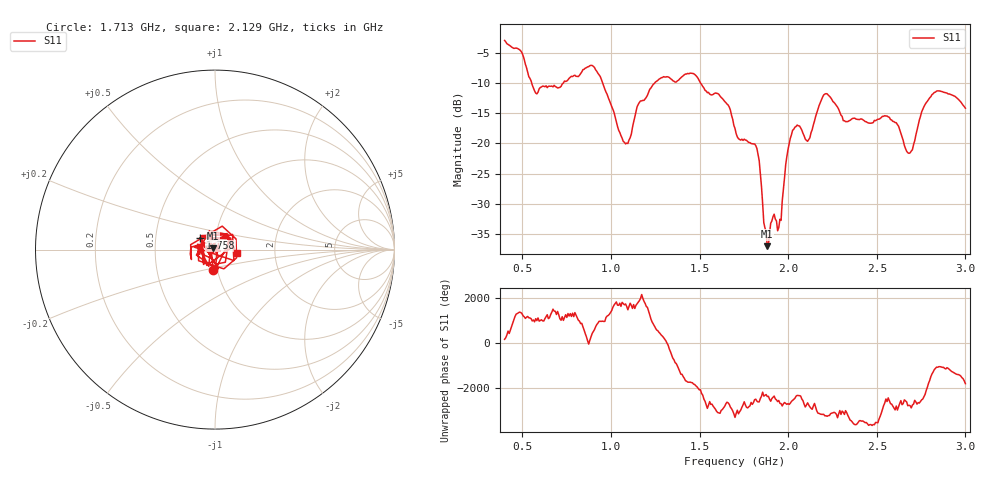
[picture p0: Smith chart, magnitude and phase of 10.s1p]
!Created with skrf (http://scikit-rf.org).
# Hz S RI R 50.0
!freq ReS11 ImS11
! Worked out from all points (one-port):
!   401 points, 400 MHz to 3 GHz, reference 50 ohm
!   lowest |S11| = -37.1 dB at 1.882 GHz (marker M1), VSWR 1.03, Z = 48.8 + j0.618 ohm
!   |S11| at or under -10 dB: 553.5 MHz to 729.1 MHz (175.7 MHz wide, 27.4 % of centre); 953.8 MHz to 1.245 GHz (291.3 MHz wide, 26.5 % of centre); 1.507 GHz to end of sweep
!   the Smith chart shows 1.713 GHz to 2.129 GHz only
!   S11 on the Smith chart (normalised r, x): 1.713 GHz: 0.96, -0.22; 1.758 GHz: 0.84, +0.11; 2.129 GHz: 1.27, -0.05
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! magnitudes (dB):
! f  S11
! 400 MHz  -2.9
! 491 MHz  -4.6
! 575.5 MHz  -11.6
! 725 MHz  -10.1
! 900.5 MHz  -7.2
! 1.05 GHz  -18.2
! 1.095 GHz  -20.0
! 1.154 GHz  -13.5
! 1.258 GHz  -9.6
! 1.375 GHz  -9.6
! 1.472 GHz  -8.5
! 1.655 GHz  -13.4
! 1.7 GHz  -17.5
! 1.713 GHz  -18.9
! 1.758 GHz  -19.4
! 1.823 GHz  -20.8
! 1.882 GHz  -37.1
! 1.915 GHz  -32.2
! 1.954 GHz  -32.6
! 1.992 GHz  -22.2
! 2.025 GHz  -17.8
! 2.129 GHz  -18.2
! 2.213 GHz  -11.7
! 2.35 GHz  -16.1
! 2.558 GHz  -15.4
! 2.675 GHz  -21.5
! 2.825 GHz  -11.5
! 3 GHz  -14.1
